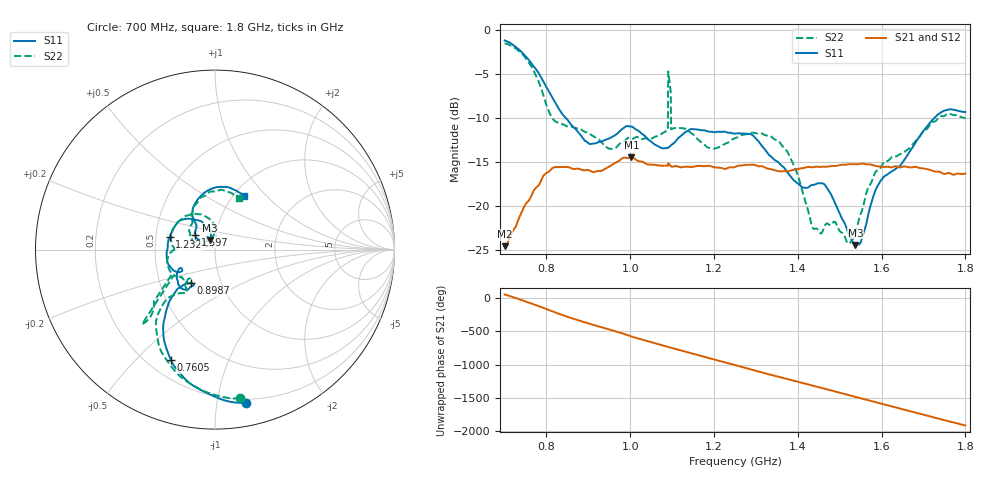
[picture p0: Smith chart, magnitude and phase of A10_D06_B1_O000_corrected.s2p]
! Created with skrf 1.9.0 (http://scikit-rf.org).
# Hz S RI R 50.0
!freq ReS11 ImS11 ReS21 ImS21 ReS12 ImS12 ReS22 ImS22
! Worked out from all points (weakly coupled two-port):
!   1601 points, 700 MHz to 1.8 GHz, reference 50 ohm
!   highest |S21| = -14.45 dB at 1.002 GHz (marker M1); lowest = -24.5 dB at 700.7 MHz (marker M2)
!   lowest |S11| = -24.4 dB at 1.537 GHz (marker M3), VSWR 1.13, Z = 47.1 + j5.07 ohm
!   |S11| at or under -10 dB: 846.5 MHz to 1.725 GHz (878.9 MHz wide, 68.3 % of centre)
!   |S22| runs from -24.3 to -1.5 dB; largest |S21 - S12| = 0.0034
!   S11 on the Smith chart (normalised r, x): 700 MHz: 0.17, -1.21; 760.5 MHz: 0.29, -0.64; 898.7 MHz: 0.72, -0.28; 1.232 GHz: 0.59, +0.09; 1.597 GHz: 0.79, +0.13; 1.8 GHz: 1.12, +0.76
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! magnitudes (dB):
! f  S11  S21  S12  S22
! 700 MHz  -1.2  -24.5  -24.3  -1.5
! 700.7 MHz  -1.2  -24.5  -24.2  -1.5
! 760.5 MHz  -3.6  -19.1  -19.0  -3.9
! 815.5 MHz  -7.8  -15.6  -15.7  -10.1
! 883.6 MHz  -12.1  -15.9  -15.8  -11.3
! 898.7 MHz  -12.8  -15.9  -15.9  -11.7
! 1.002 GHz  -10.9  -14.5  -14.6  -12.3
! 1.067 GHz  -13.2  -15.4  -15.3  -12.0
! 1.084 GHz  -13.4  -15.4  -15.4  -11.5
! 1.096 GHz  -13.1  -15.4  -15.4  -6.8
! 1.103 GHz  -12.9  -15.5  -15.4  -11.2
! 1.232 GHz  -11.6  -15.7  -15.6  -12.8
! 1.25 GHz  -11.8  -15.5  -15.5  -12.3
! 1.357 GHz  -15.2  -16.0  -16.0  -12.7
! 1.396 GHz  -17.3  -15.8  -15.8  -16.0
! 1.434 GHz  -17.6  -15.6  -15.5  -22.2
! 1.468 GHz  -17.8  -15.5  -15.5  -22.0
! 1.537 GHz  -24.4  -15.2  -15.2  -23.2
! 1.597 GHz  -17.1  -15.5  -15.5  -15.7
! 1.617 GHz  -16.3  -15.5  -15.5  -14.8
! 1.735 GHz  -9.6  -16.1  -16.1  -10.0
! 1.8 GHz  -9.3  -16.3  -16.3  -10.0
